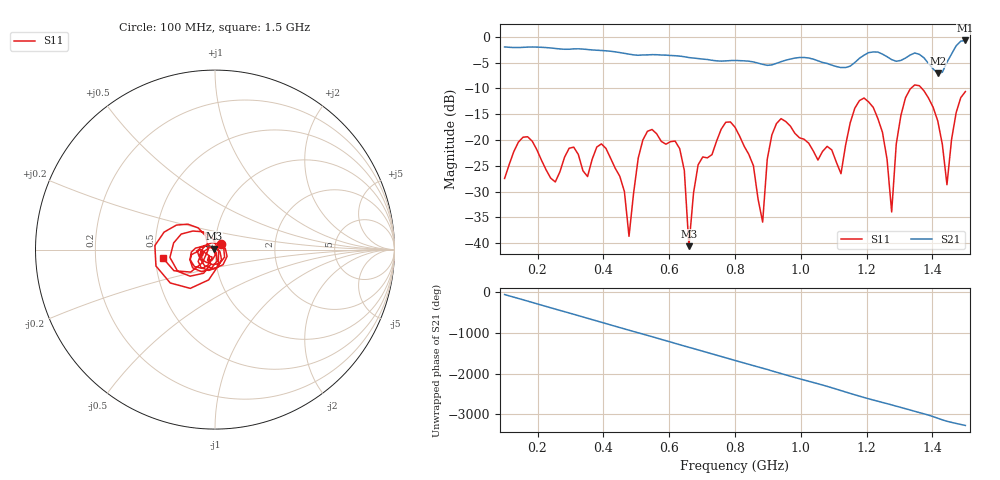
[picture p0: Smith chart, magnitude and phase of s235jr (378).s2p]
! NanoVNA-App
! Date: 2025-09-25 15:07:06
! Start: 100MHz Stop: 1,5GHz Points: 101
! S-Parameter data: F S11 S21 S12 S22
# Hz S RI R 50
!  Frequency  S11_Real  S11_Imag  S21_Real  S21_Imag  S12_Real  S12_Imag  S22_Real  S22_Imag
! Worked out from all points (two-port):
!   101 points, 100 MHz to 1.5 GHz, reference 50 ohm
!   highest |S21| = -0.71 dB at 1.5 GHz (marker M1); lowest = -7.1 dB at 1.416 GHz (marker M2)
!   |S21| within 3 dB of the highest: start of sweep to 625.9 MHz; 1.189 GHz to 1.258 GHz (69.05 MHz wide, 5.65 % of centre) (the widest 2 of 4)
!   lowest |S11| = -40.6 dB at 660 MHz (marker M3), VSWR 1.02, Z = 49.3 + j0.603 ohm
!   |S11| at or under -10 dB: start of sweep to 1.335 GHz; 1.367 GHz to end of sweep
!   S12 and S22 are empty: the file has one direction only
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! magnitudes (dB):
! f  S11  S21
! 100 MHz  -27.5  -2.0
! 170 MHz  -19.4  -2.0
! 338 MHz  -26.0  -2.4
! 408 MHz  -21.7  -2.7
! 478 MHz  -38.7  -3.4
! 520 MHz  -20.0  -3.5
! 576 MHz  -20.3  -3.5
! 632 MHz  -21.7  -3.7
! 660 MHz  -40.6  -4.0
! 688 MHz  -24.8  -4.2
! 800 MHz  -17.5  -4.6
! 884 MHz  -35.9  -5.3
! 926 MHz  -16.8  -5.1
! 1.038 GHz  -22.2  -4.3
! 1.122 GHz  -26.5  -6.0
! 1.192 GHz  -11.9  -3.6
! 1.248 GHz  -18.5  -3.4
! 1.276 GHz  -34.0  -4.4
! 1.318 GHz  -11.8  -4.1
! 1.416 GHz  -16.3  -7.1
! 1.444 GHz  -28.7  -4.9
! 1.5 GHz  -10.6  -0.7
